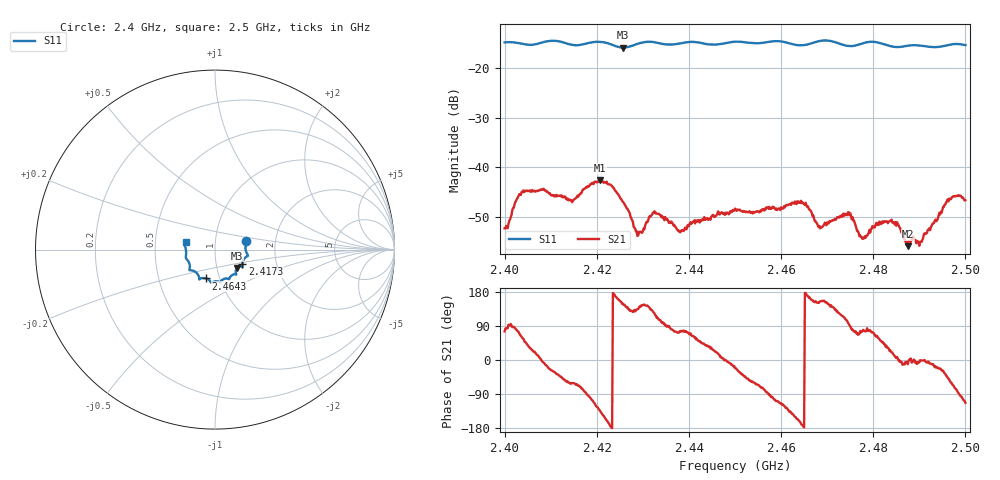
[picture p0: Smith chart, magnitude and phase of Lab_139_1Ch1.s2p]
# Hz S RI R 50
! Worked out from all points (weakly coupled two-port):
!   601 points, 2.4 GHz to 2.5 GHz, reference 50 ohm
!   highest |S21| = -42.63 dB at 2.4207 GHz (marker M1); lowest = -55.9 dB at 2.4875 GHz (marker M2)
!   lowest |S11| = -15.9 dB at 2.4257 GHz (marker M3), VSWR 1.38, Z = 62.4 - j13.1 ohm
!   |S11| at or under -10 dB: start of sweep to end of sweep
!   S12 and S22 are empty: the file has one direction only
!   S11 on the Smith chart (normalised r, x): 2.4 GHz: 1.41, +0.14; 2.4173 GHz: 1.34, -0.23; 2.4643 GHz: 0.86, -0.28; 2.5 GHz: 0.72, +0.06
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2.4e9  0.1733 0.0491  0.000606 0.00235  0 0  0 0
2.404167e9  0.1713 0.0229  0.00327 0.00456  0 0  0 0
2.414333e9  0.1637 -0.0494  0.00216 -0.0042  0 0  0 0
2.416667e9  0.1532 -0.0747  0.00142 -0.00529  0 0  0 0
2.417333e9  0.1524 -0.0823  0.000696 -0.00606  0 0  0 0
2.420667e9  0.1542 -0.097  -0.00509 -0.00536  0 0  0 0
2.425667e9  0.1226 -0.1021  -0.00385 0.00233  0 0  0 0
2.429e9  0.1159 -0.1311  -0.00145 0.00148  0 0  0 0
2.433333e9  0.1127 -0.1368  -0.0011 0.00324  0 0  0 0
2.438333e9  0.0817 -0.1562  0.000529 0.00225  0 0  0 0
2.45e9  0.0294 -0.1807  0.00359 -0.0014  0 0  0 0
2.464333e9  -0.05 -0.1605  -0.00452 -0.000912  0 0  0 0
2.466667e9  -0.0758 -0.1596  -0.00323 0.00128  0 0  0 0
2.4685e9  -0.0864 -0.1651  -0.0022 0.00104  0 0  0 0
2.474667e9  -0.103 -0.1294  -0.000329 0.00353  0 0  0 0
2.477833e9  -0.1336 -0.1157  0.000357 0.00192  0 0  0 0
2.483333e9  -0.1406 -0.0899  0.00243 0.00146  0 0  0 0
2.485333e9  -0.1461 -0.0689  0.00268 0.000167  0 0  0 0
2.4875e9  -0.1577 -0.0536  0.00158 -0.000313  0 0  0 0
2.490333e9  -0.1625 -0.0392  0.00179 -4.66e-05  0 0  0 0
2.496667e9  -0.1693 0.0239  0.00271 -0.00397  0 0  0 0
2.5e9  -0.1637 0.0419  -0.00181 -0.0043  0 0  0 0
